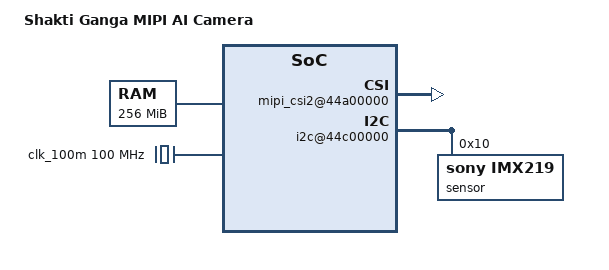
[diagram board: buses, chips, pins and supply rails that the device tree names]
// shakti_mipi.dts – Device tree overlay for Ganga (RV64) + MC20901
// Include via your Shakti Ganga board system.dts (see docs/setup_guide.md)
/dts-v1/;
/ {
  model = "Shakti Ganga MIPI AI Camera";
  compatible = "shakti,ganga-mipi";
  #address-cells = <1>; #size-cells = <1>;
  cpus { #address-cells = <1>; #size-cells = <0>; cpu@0 { device_type="cpu"; compatible="shakti,c-class"; reg=<0>; }; };
  memory@80000000 { device_type="memory"; reg=<0x80000000 0x10000000>; }; // 256 MB DDR
  clk_100m: clk-100m { compatible="fixed-clock"; #clock-cells=<0>; clock-frequency=<100000000>; };

  soc {
    #address-cells = <1>; #size-cells = <1>; compatible="simple-bus"; ranges;
    // Shakti PLIC/CLINT at 0x00010000 (see shakti_baseline.md)
    // MIPI CSI-2 hard via MC20901 at 0x44A0_0000 (AXI-Lite), DMA at 0x44B0_0000
    mipi_csi2@44a00000 {
      compatible = "shakti,mipi-csi2-ganga", "xlnx,mipi-csi2-rx-subsystem-3.0";
      reg = <0x44A00000 0x10000>;
      interrupts = <0 1>; // PLIC irq_f2p[0]; interrupt-parent supplied by board DTS
      clocks = <&clk_100m>;
      port { csi2_in: endpoint { data-lanes=<1 2 3 4>; }; }; // add remote-endpoint=<&sensor_out> for your sensor
    };
    vc_merge@44a10000 { compatible="shakti,vc-merge"; reg=<0x44A10000 0x10000>; };
    isp@44a20000 { compatible="shakti,isp"; reg=<0x44A20000 0x10000>; };
    ai_preproc@44a30000 { compatible="shakti,ai-preproc"; reg=<0x44A30000 0x10000>; };
    dma@44b00000 { compatible="xlnx,axi-dma"; reg=<0x44B00000 0x10000>; };
    i2c@44c00000 { compatible="shakti,i2c"; reg=<0x44C00000 0x10000>; #address-cells=<1>; #size-cells=<0>;
      sensor: imx219@10 { compatible="sony,imx219"; reg=<0x10>; };
    };
    gpio@44d00000 { compatible="shakti,gpio"; reg=<0x44D00000 0x10000>; gpio-line-names="cam_rst","cam_pwdn"; };
  };
};

